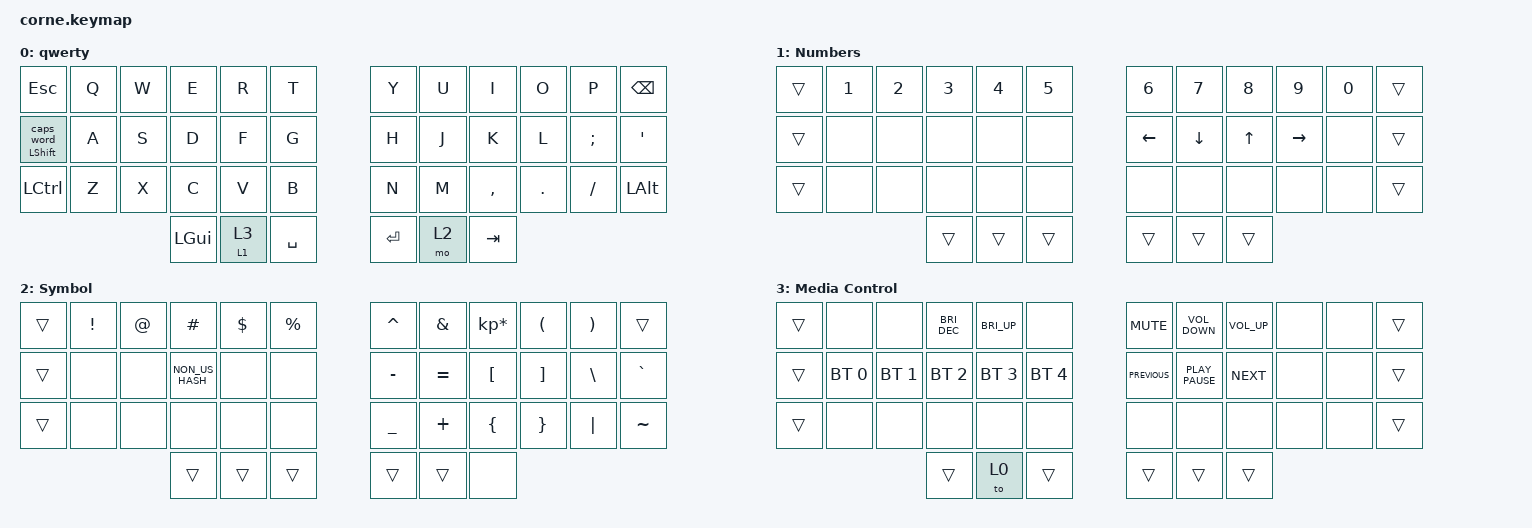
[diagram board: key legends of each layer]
/*
 * Copyright (c) 2020 The ZMK Contributors
 *
 * SPDX-License-Identifier: MIT
 */

#include <behaviors.dtsi>
#include <dt-bindings/zmk/bt.h>
#include <dt-bindings/zmk/keys.h>

/ {
    behaviors {
        LayerHoldTap: LayerHoldTap {
            compatible = "zmk,behavior-hold-tap";
            label = "LAYERHOLDTAP";
            bindings = <&mo>, <&tog>;

            #binding-cells = <2>;
            tapping-term-ms = <150>;
        };

        ShiftCapsWordHT: ShiftCapsWordHT {
            compatible = "zmk,behavior-hold-tap";
            label = "SHIFTCAPSWORDHT";
            bindings = <&kp>, <&caps_word>;

            #binding-cells = <2>;
            tapping-term-ms = <100>;
        };

        HoldForBluetooth: HoldForBluetooth {
            compatible = "zmk,behavior-hold-tap";
            label = "HOLDFORBLUETOOTH";
            bindings = <&bt>, <&none>;

            #binding-cells = <2>;
            flavor = "tap-preferred";
            tapping-term-ms = <2000>;
        };
    };

    keymap {
        compatible = "zmk,keymap";

        qwerty {
            bindings = <
&kp ESC                    &kp Q  &kp W  &kp E     &kp R              &kp T        &kp Y    &kp U  &kp I      &kp O    &kp P     &kp BSPC
&ShiftCapsWordHT LSHIFT 0  &kp A  &kp S  &kp D     &kp F              &kp G        &kp H    &kp J  &kp K      &kp L    &kp SEMI  &kp SQT
&kp LCTRL                  &kp Z  &kp X  &kp C     &kp V              &kp B        &kp N    &kp M  &kp COMMA  &kp DOT  &kp FSLH  &kp LEFT_ALT
                                         &kp LGUI  &LayerHoldTap 1 3  &kp SPACE    &kp RET  &mo 2  &kp TAB
            >;

            label = "qwerty";
        };

        numbers {
            bindings = <
&trans  &kp N1  &kp N2  &kp N3  &kp N4  &kp N5    &kp N6    &kp N7    &kp N8  &kp N9     &kp N0  &trans
&trans  &none   &none   &none   &none   &none     &kp LEFT  &kp DOWN  &kp UP  &kp RIGHT  &none   &trans
&trans  &none   &none   &none   &none   &none     &none     &none     &none   &none      &none   &trans
                        &trans  &trans  &trans    &trans    &trans    &trans
            >;

            label = "Numbers";
        };

        symbol {
            bindings = <
&trans  &kp EXCL  &kp AT  &kp HASH         &kp DLLR  &kp PRCNT    &kp CARET  &kp AMPS   &kp KP_MULTIPLY  &kp LPAR  &kp RPAR  &trans
&trans  &none     &none   &kp NON_US_HASH  &none     &none        &kp MINUS  &kp EQUAL  &kp LBKT         &kp RBKT  &kp BSLH  &kp GRAVE
&trans  &none     &none   &none            &none     &none        &kp UNDER  &kp PLUS   &kp LBRC         &kp RBRC  &kp PIPE  &kp TILDE
                          &trans           &trans    &trans       &trans     &trans     &none
            >;

            label = "Symbol";
        };

        media {
            bindings = <
&trans  &none         &none         &kp C_BRI_DEC  &kp C_BRI_UP  &none           &kp K_MUTE      &kp C_VOLUME_DOWN  &kp C_VOLUME_UP  &none  &none  &trans
&trans  &bt BT_SEL 0  &bt BT_SEL 1  &bt BT_SEL 2   &bt BT_SEL 3  &bt BT_SEL 4    &kp K_PREVIOUS  &kp K_PLAY_PAUSE   &kp K_NEXT       &none  &none  &trans
&trans  &none         &none         &none          &none         &none           &none           &none              &none            &none  &none  &trans
                                    &trans         &to 0         &trans          &trans          &trans             &trans
            >;

            label = "Media Control";
        };
    };
};
